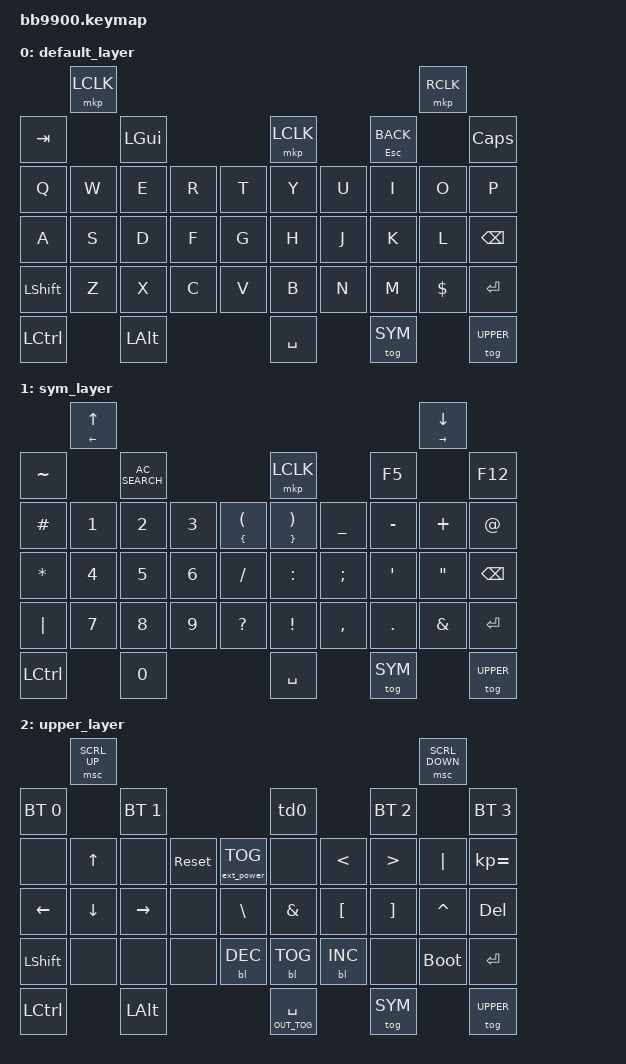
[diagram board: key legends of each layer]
/*
 * Copyright (c) 2023 ZitaoTech
 *
 * SPDX-License-Identifier: MIT
 */
  
#include <behaviors.dtsi>
#include <dt-bindings/zmk/keys.h>
#include <dt-bindings/zmk/bt.h>
#include <dt-bindings/zmk/outputs.h>
#include <dt-bindings/zmk/mouse.h>
#include <dt-bindings/zmk/backlight.h>
#include <dt-bindings/zmk/ext_power.h>


#define SYM 1
#define UPPER 2

/ {
    behaviors {
        td0: tap_dance_0 {
            compatible = "zmk,behavior-tap-dance";
            #binding-cells = <0>;
            tapping-term-ms = <400>;
            bindings = <&mkp LCLK>, <&bt BT_CLR>;
        };
    };
    behaviors {
        hm: homerow_mods {
            compatible = "zmk,behavior-hold-tap";
            #binding-cells = <2>;
            tapping-term-ms = <500>;
            bindings = <&out &kp>;
        };
    };

    keymap {
        compatible = "zmk,keymap";

        default_layer {

            bindings = <
//         --------------------------------------------------------------------------------------------------------------------------         
//         |    Shoulder Key1    |                                                                             |    Shoulder Key2    |     
// |         Call key      |      Blackberry Key        |    Trackpad    |             Back Key                |             Endcall Key          |
// |     Q      |     W    |     E    |     R    |      T      |       Y        |       U        |        I        |       O      |      P        |     
// |     A      |     S    |     D    |     F    |      G      |       H        |       J        |        K        |       L      |      ←        |  
// |     alt    |     Z    |     X    |     C    |      V      |       B        |       N        |        M        |       $      |    Enter      |   
//        |         aA     |         0           |           SPACE              |         SYM         |        aA          |       
//        -----------------------------------------------------------------------------------------------------------------

                 &mkp LCLK                                                                                          &mkp RCLK
    &kp TAB                 &kp LGUI                            &mkp LCLK                          &mt ESC K_BACK                    &kp CLCK
    &kp Q        &kp W      &kp E       &kp R     &kp T         &kp Y             &kp U            &kp I            &kp O            &kp P
    &kp A        &kp S      &kp D       &kp F     &kp G         &kp H             &kp J            &kp K            &kp L            &kp BSPC
    &kp LSHFT    &kp Z      &kp X       &kp C     &kp V         &kp B             &kp N            &kp M            &kp DLLR         &kp ENTER
    &kp LCTRL               &kp LALT                            &kp SPACE                          &tog SYM                          &tog UPPER
            >;
        };


        sym_layer {

            bindings = <
                 &mt LEFT UP                                                                                     &mt RIGHT DOWN
    &kp TILDE               &kp C_AC_SEARCH                     &mkp LCLK                          &kp F5                               &kp F12 
    &kp HASH    &kp N1      &kp N2      &kp N3    &mt LBRC LPAR &mt RBRC RPAR     &kp UNDER        &kp MINUS        &kp PLUS            &kp AT
    &kp STAR    &kp N4      &kp N5      &kp N6    &kp SLASH     &kp COLON         &kp SEMI         &kp APOS         &kp DQT             &kp BSPC
    &kp PIPE    &kp N7      &kp N8      &kp N9    &kp QMARK     &kp EXCL          &kp COMMA        &kp DOT          &kp AMPS            &kp ENTER
    &kp LCTRL               &kp N0                              &kp SPACE                          &tog SYM                             &tog UPPER
            >;
        };


        upper_layer {

            bindings = <
                 &msc SCRL_UP                                                                                       &msc SCRL_DOWN
    &bt BT_SEL 0            &bt BT_SEL 1                             &td0                           &bt BT_SEL 2                     &bt BT_SEL 3
    &none        &kp UP     &none       &sys_reset &ext_power EP_TOG &none         &kp LT           &kp GT          &kp PIPE         &kp KP_EQUAL
    &kp LEFT     &kp DOWN   &kp RIGHT   &none      &kp BSLH          &kp AMPS      &kp LBKT         &kp RBKT        &kp CARET        &kp DEL
    &kp LSHFT    &none      &none       &none      &bl BL_DEC        &bl BL_TOG    &bl BL_INC       &none           &bootloader      &kp ENTER
    &kp LCTRL               &kp LALT                                 &hm OUT_TOG SPACE              &tog SYM                         &tog UPPER
            >;
        };
    };
};

